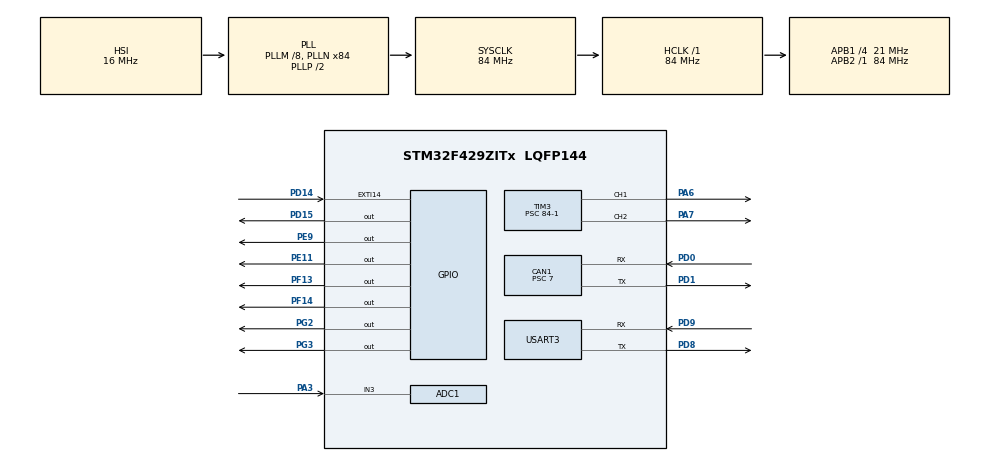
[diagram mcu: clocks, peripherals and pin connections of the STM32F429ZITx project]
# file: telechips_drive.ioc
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ADC1.Channel-0\#ChannelRegularConversion=ADC_CHANNEL_3
ADC1.NbrOfConversionFlag=1
ADC1.Rank-0\#ChannelRegularConversion=1
ADC1.SamplingTime-0\#ChannelRegularConversion=ADC_SAMPLETIME_3CYCLES
ADC1.master=1
CAN1.BS1=CAN_BS1_2TQ
CAN1.BS2=CAN_BS2_3TQ
CAN1.CalculateBaudRate=499999
CAN1.CalculateTimeBit=2000
CAN1.CalculateTimeQuantum=333.33333333333337
CAN1.Prescaler=7
FREERTOS.Tasks01=defaultTask,0,128,StartDefaultTask,Default,NULL,Dynamic,NULL,NULL;temp_hum,0,512,StartTask02,Default,NULL,Dynamic,NULL,NULL;bright,-3,512,StartTask03,Default,NULL,Dynamic,NULL,NULL
Mcu.Family=STM32F4
Mcu.Name=STM32F429ZITx
Mcu.Package=LQFP144
NVIC.CAN1_RX0_IRQn=true\:5\:0\:false\:false\:true\:true\:true\:true\:true
NVIC.PriorityGroup=NVIC_PRIORITYGROUP_4
PA3.Signal=ADCx_IN3
PA6.Signal=S_TIM3_CH1
PA7.Signal=S_TIM3_CH2
PD0.Mode=CAN_Activate
PD0.Signal=CAN1_RX
PD1.Mode=CAN_Activate
PD1.Signal=CAN1_TX
PD14.Signal=GPXTI14
PD15.Signal=GPIO_Output
PD8.Mode=Asynchronous
PD8.Signal=USART3_TX
PD9.Mode=Asynchronous
PD9.Signal=USART3_RX
PE11.Signal=GPIO_Output
PE9.Signal=GPIO_Output
PF13.Signal=GPIO_Output
PF14.Signal=GPIO_Output
PG2.Signal=GPIO_Output
PG3.Signal=GPIO_Output
ProjectManager.HeapSize=0x200
ProjectManager.StackSize=0x400
ProjectManager.TargetToolchain=STM32CubeIDE
RCC.48MHZClocksFreq_Value=42000000
RCC.AHBFreq_Value=84000000
RCC.APB1CLKDivider=RCC_HCLK_DIV4
RCC.APB1Freq_Value=21000000
RCC.APB1TimFreq_Value=42000000
RCC.APB2Freq_Value=84000000
RCC.APB2TimFreq_Value=84000000
RCC.CortexFreq_Value=84000000
RCC.HCLKFreq_Value=84000000
RCC.HSE_VALUE=25000000
RCC.HSI_VALUE=16000000
RCC.LSE_VALUE=32768
RCC.PLLM=8
RCC.PLLN=84
RCC.SYSCLKFreq_VALUE=84000000
RCC.SYSCLKSource=RCC_SYSCLKSOURCE_PLLCLK
RCC.VCOOutputFreq_Value=168000000
SH.ADCx_IN3.0=ADC1_IN3,IN3
SH.S_TIM3_CH1.0=TIM3_CH1,PWM Generation1 CH1
SH.S_TIM3_CH2.0=TIM3_CH2,PWM Generation2 CH2
TIM2.Period=0xffff
TIM2.Prescaler=42-1
TIM3.Channel-PWM\ Generation1\ CH1=TIM_CHANNEL_1
TIM3.Channel-PWM\ Generation2\ CH2=TIM_CHANNEL_2
TIM3.Period=1000-1
TIM3.Prescaler=84-1
USART3.VirtualMode=VM_ASYNC
VP_FREERTOS_VS_CMSIS_V1.Mode=CMSIS_V1
VP_TIM2_VS_ClockSourceINT.Mode=Internal
VP_TIM3_VS_ClockSourceINT.Mode=Internal
board=custom

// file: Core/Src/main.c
/* USER CODE BEGIN Header */
/**
  ******************************************************************************
  * @file           : main.c
  * @brief          : Main program body
  ******************************************************************************
  * @attention
  *
  * Copyright (c) 2025 STMicroelectronics.
  * All rights reserved.
  *
  * This software is licensed under terms that can be found in the LICENSE file
  * in the root directory of this software component.
  * If no LICENSE file comes with this software, it is provided AS-IS.
  *
  ******************************************************************************
  */
/* USER CODE END Header */
#include "main.h"
#include "cmsis_os.h"
#include<stdio.h>

/* USER CODE BEGIN PTD */
typedef struct {
    uint8_t humidity_int;
    uint8_t humidity_dec;
    uint8_t temperature_int;
    uint8_t temperature_dec;
    uint8_t checksum;
} DHT11_Data;
/* USER CODE END PTD */

/* USER CODE BEGIN PD */
#define DHT11_PORT GPIOG
#define DHT11_PIN GPIO_PIN_3
/* USER CODE END PD */

ADC_HandleTypeDef hadc1;

CAN_HandleTypeDef hcan1;

TIM_HandleTypeDef htim2;
TIM_HandleTypeDef htim3;

UART_HandleTypeDef huart3;

osThreadId defaultTaskHandle;
osThreadId temp_humHandle;
osThreadId brightHandle;
/* USER CODE BEGIN PV */
uint32_t adc_val = 0;
const uint32_t LUX_THRESHOLD = 3000; // 임계값 (0~4095 사이, 환경에 따라 조절)

static volatile uint8_t g_speed_ctrl_enabled = 0; // 시작/정지 상태
static volatile uint8_t g_bump_detected = 0; // 감속/가속 트리거 (이벤트)
static volatile uint8_t g_decel_mode = 1;// 자동 감속 기능 on/off

typedef enum {
  SPEED_NORMAL = 0,
  SPEED_DECEL  = 1,
} SpeedState;

static SpeedState speed_state = SPEED_NORMAL;
static uint32_t decel_start_tick = 0;

// 튜닝 값(처음은 보수적으로)
#define PWM_NORMAL   600   // 700
#define PWM_DECEL    300   // 500
#define DECEL_TMIN_MS 700   // 감속 유지 최소시간 (0.7s)
#define DECEL_TMAX_MS 2500  // 감속 최대시간 (2.5s) - 안전장치(선택)
/* USER CODE END PV */

void SystemClock_Config(void);
static void MX_GPIO_Init(void);
static void MX_TIM3_Init(void);
static void MX_TIM2_Init(void);
static void MX_USART3_UART_Init(void);
static void MX_ADC1_Init(void);
static void MX_CAN1_Init(void);
void StartDefaultTask(void const * argument);
void StartTask02(void const * argument);
void StartTask03(void const * argument);

/* USER CODE BEGIN PFP */
void DHT11_SetPinOutput(void);
void DHT11_SetPinInput(void);
void DHT11_Start(void);
uint8_t DHT11_CheckResponse(void);
uint8_t DHT11_ReadByte(void);
uint8_t DHT11_ReadData(DHT11_Data *data);
void delay_us(uint32_t us);

void CAN_App_Init(void);
HAL_StatusTypeDef CAN_Send_SensorFrame(const DHT11_Data *dht, uint16_t adc);
/* USER CODE END PFP */

/* USER CODE BEGIN 0 */
#include "string.h"
#include <stdarg.h>
#include <stdio.h>
//#define printf UART_SendString
void UART_SendString(char* str) {
    HAL_UART_Transmit(&huart3, (uint8_t*)str, strlen(str), HAL_MAX_DELAY);
}
// 마이크로초 딜레이 함수 (TIM2 사용)
void delay_us(uint32_t us) {
    __HAL_TIM_SET_COUNTER(&htim2, 0);
    while (__HAL_TIM_GET_COUNTER(&htim2) < us);
}

// GPIO를 출력 모드로 설정
void DHT11_SetPinOutput(void) {
    GPIO_InitTypeDef GPIO_InitStruct = {0};
    GPIO_InitStruct.Pin = DHT11_PIN;
    GPIO_InitStruct.Mode = GPIO_MODE_OUTPUT_PP;
    GPIO_InitStruct.Pull = GPIO_NOPULL;
    GPIO_InitStruct.Speed = GPIO_SPEED_FREQ_LOW;
    HAL_GPIO_Init(DHT11_PORT, &GPIO_InitStruct);
}

// GPIO를 입력 모드로 설정
void DHT11_SetPinInput(void) {
    GPIO_InitTypeDef GPIO_InitStruct = {0};
    GPIO_InitStruct.Pin = DHT11_PIN;
    GPIO_InitStruct.Mode = GPIO_MODE_INPUT;
    GPIO_InitStruct.Pull = GPIO_PULLUP;
    HAL_GPIO_Init(DHT11_PORT, &GPIO_InitStruct);
}

// DHT11 시작 신호
void DHT11_Start(void) {
    DHT11_SetPinOutput();
    HAL_GPIO_WritePin(DHT11_PORT, DHT11_PIN, GPIO_PIN_RESET);
    delay_us(18000);  // 18ms Low
    HAL_GPIO_WritePin(DHT11_PORT, DHT11_PIN, GPIO_PIN_SET);
    delay_us(30);     // 30us High
    DHT11_SetPinInput();
}

// DHT11 응답 확인
uint8_t DHT11_CheckResponse(void) {
    uint8_t response = 0;
    uint32_t timeout = 0;

    // 80us Low 대기
    timeout = 0;
    while (HAL_GPIO_ReadPin(DHT11_PORT, DHT11_PIN) == GPIO_PIN_RESET) {
        delay_us(1);
        timeout++;
        if (timeout > 100) return 0;
    }

    // 80us High 대기
    timeout = 0;
    while (HAL_GPIO_ReadPin(DHT11_PORT, DHT11_PIN) == GPIO_PIN_SET) {
        delay_us(1);
        timeout++;
        if (timeout > 100) return 0;
    }

    return 1;
}

// DHT11에서 1바이트 읽기
uint8_t DHT11_ReadByte(void) {
    uint8_t byte = 0;
    uint32_t timeout = 0;

    for (int i = 0; i < 8; i++) {
        // 50us Low 신호 대기
        timeout = 0;
        while (HAL_GPIO_ReadPin(DHT11_PORT, DHT11_PIN) == GPIO_PIN_RESET) {
            delay_us(1);
            timeout++;
            if (timeout > 100) return 0;
        }

        // High 신호 길이로 0/1 판단
        delay_us(40);

        if (HAL_GPIO_ReadPin(DHT11_PORT, DHT11_PIN) == GPIO_PIN_SET) {
            byte |= (1 << (7 - i));  // 1
        }

        // High 신호 끝날 때까지 대기
        timeout = 0;
        while (HAL_GPIO_ReadPin(DHT11_PORT, DHT11_PIN) == GPIO_PIN_SET) {
            delay_us(1);
            timeout++;
            if (timeout > 100) break;
        }
    }

    return byte;
}

// DHT11 데이터 읽기
uint8_t DHT11_ReadData(DHT11_Data *data) {
    uint8_t checksum;

    DHT11_Start();

    if (!DHT11_CheckResponse()) {
        return 0;  // 응답 없음
    }

    data->humidity_int = DHT11_ReadByte();
    data->humidity_dec = DHT11_ReadByte();
    data->temperature_int = DHT11_ReadByte();
    data->temperature_dec = DHT11_ReadByte();
    data->checksum = DHT11_ReadByte();

    // 체크섬 검증
    checksum = data->humidity_int + data->humidity_dec +
               data->temperature_int + data->temperature_dec;

    if (checksum != data->checksum) {
        return 0;  // 체크섬 오류
    }

    return 1;  // 성공
}
// 모터 방향 및 속도 제어 함수
// speed: 0 ~ 1000 (Counter Period 값에 대응)
// direction: 0(정지), 1(정회전), 2(역회전)
void Control_Motor(uint32_t direction, uint32_t speed) {
    // 1. 속도 설정 (PWM Duty Cycle 업데이트)
    __HAL_TIM_SET_COMPARE(&htim3, TIM_CHANNEL_1, speed);

    // 2. 방향 설정
    if (direction == 1) { // 정회전
        HAL_GPIO_WritePin(GPIOE, GPIO_PIN_9, GPIO_PIN_SET);
        HAL_GPIO_WritePin(GPIOF, GPIO_PIN_13, GPIO_PIN_RESET);
        HAL_GPIO_WritePin(GPIOE, GPIO_PIN_11, GPIO_PIN_SET);
        HAL_GPIO_WritePin(GPIOF, GPIO_PIN_14, GPIO_PIN_RESET);

    }
    else if (direction == 2) { // 역회전
        HAL_GPIO_WritePin(GPIOE, GPIO_PIN_9, GPIO_PIN_RESET);
        HAL_GPIO_WritePin(GPIOF, GPIO_PIN_13, GPIO_PIN_SET);
        HAL_GPIO_WritePin(GPIOE, GPIO_PIN_11, GPIO_PIN_RESET);
        HAL_GPIO_WritePin(GPIOF, GPIO_PIN_14, GPIO_PIN_SET);
    }
    else { // 정지
        HAL_GPIO_WritePin(GPIOE, GPIO_PIN_9, GPIO_PIN_RESET);
        HAL_GPIO_WritePin(GPIOF, GPIO_PIN_13, GPIO_PIN_RESET);
        HAL_GPIO_WritePin(GPIOE, GPIO_PIN_11, GPIO_PIN_RESET);
        HAL_GPIO_WritePin(GPIOF, GPIO_PIN_14, GPIO_PIN_RESET);
    }
}
/* USER CODE END 0 */

int main(void)
{

  /* MCU Configuration--------------------------------------------------------*/

  /* Reset of all peripherals, Initializes the Flash interface and the Systick. */
  HAL_Init();

  /* Configure the system clock */
  SystemClock_Config();

  /* Initialize all configured peripherals */
  MX_GPIO_Init();
  MX_TIM3_Init();
  MX_TIM2_Init();
  MX_USART3_UART_Init();
  MX_ADC1_Init();
  MX_CAN1_Init();
  /* USER CODE BEGIN 2 */
  CAN_App_Init();
  HAL_TIM_Base_Start(&htim2);
  HAL_TIM_PWM_Start(&htim3, TIM_CHANNEL_1);
  /* USER CODE END 2 */

  /* Create the thread(s) */
  /* definition and creation of defaultTask */
  osThreadDef(defaultTask, StartDefaultTask, osPriorityNormal, 0, 128);
  defaultTaskHandle = osThreadCreate(osThread(defaultTask), NULL);

  /* definition and creation of temp_hum */
  osThreadDef(temp_hum, StartTask02, osPriorityNormal, 0, 512);
  temp_humHandle = osThreadCreate(osThread(temp_hum), NULL);

  /* definition and creation of bright */
  osThreadDef(bright, StartTask03, osPriorityIdle, 0, 512);
  brightHandle = osThreadCreate(osThread(bright), NULL);

  /* Start scheduler */
  osKernelStart();

  /* We should never get here as control is now taken by the scheduler */

  /* Infinite loop */
  while (1)
  {

  }
}

void SystemClock_Config(void)
{
  RCC_OscInitTypeDef RCC_OscInitStruct = {0};
  RCC_ClkInitTypeDef RCC_ClkInitStruct = {0};

  /** Configure the main internal regulator output voltage
  */
  __HAL_RCC_PWR_CLK_ENABLE();
  __HAL_PWR_VOLTAGESCALING_CONFIG(PWR_REGULATOR_VOLTAGE_SCALE3);

  /** Initializes the RCC Oscillators according to the specified parameters
  * in the RCC_OscInitTypeDef structure.
  */
  RCC_OscInitStruct.OscillatorType = RCC_OSCILLATORTYPE_HSI;
  RCC_OscInitStruct.HSIState = RCC_HSI_ON;
  RCC_OscInitStruct.HSICalibrationValue = RCC_HSICALIBRATION_DEFAULT;
  RCC_OscInitStruct.PLL.PLLState = RCC_PLL_ON;
  RCC_OscInitStruct.PLL.PLLSource = RCC_PLLSOURCE_HSI;
  RCC_OscInitStruct.PLL.PLLM = 8;
  RCC_OscInitStruct.PLL.PLLN = 84;
  RCC_OscInitStruct.PLL.PLLP = RCC_PLLP_DIV2;
  RCC_OscInitStruct.PLL.PLLQ = 4;
  if (HAL_RCC_OscConfig(&RCC_OscInitStruct) != HAL_OK)
  {
    Error_Handler();
  }

  /** Initializes the CPU, AHB and APB buses clocks
  */
  RCC_ClkInitStruct.ClockType = RCC_CLOCKTYPE_HCLK|RCC_CLOCKTYPE_SYSCLK
                              |RCC_CLOCKTYPE_PCLK1|RCC_CLOCKTYPE_PCLK2;
  RCC_ClkInitStruct.SYSCLKSource = RCC_SYSCLKSOURCE_PLLCLK;
  RCC_ClkInitStruct.AHBCLKDivider = RCC_SYSCLK_DIV1;
  RCC_ClkInitStruct.APB1CLKDivider = RCC_HCLK_DIV4;
  RCC_ClkInitStruct.APB2CLKDivider = RCC_HCLK_DIV1;

  if (HAL_RCC_ClockConfig(&RCC_ClkInitStruct, FLASH_LATENCY_2) != HAL_OK)
  {
    Error_Handler();
  }
}

static void MX_ADC1_Init(void)
{

  ADC_ChannelConfTypeDef sConfig = {0};

  /** Configure the global features of the ADC (Clock, Resolution, Data Alignment and number of conversion)
  */
  hadc1.Instance = ADC1;
  hadc1.Init.ClockPrescaler = ADC_CLOCK_SYNC_PCLK_DIV4;
  hadc1.Init.Resolution = ADC_RESOLUTION_12B;
  hadc1.Init.ScanConvMode = DISABLE;
  hadc1.Init.ContinuousConvMode = DISABLE;
  hadc1.Init.DiscontinuousConvMode = DISABLE;
  hadc1.Init.ExternalTrigConvEdge = ADC_EXTERNALTRIGCONVEDGE_NONE;
  hadc1.Init.ExternalTrigConv = ADC_SOFTWARE_START;
  hadc1.Init.DataAlign = ADC_DATAALIGN_RIGHT;
  hadc1.Init.NbrOfConversion = 1;
  hadc1.Init.DMAContinuousRequests = DISABLE;
  hadc1.Init.EOCSelection = ADC_EOC_SINGLE_CONV;
  if (HAL_ADC_Init(&hadc1) != HAL_OK)
  {
    Error_Handler();
  }

  /** Configure for the selected ADC regular channel its corresponding rank in the sequencer and its sample time.
  */
  sConfig.Channel = ADC_CHANNEL_3;
  sConfig.Rank = 1;
  sConfig.SamplingTime = ADC_SAMPLETIME_480CYCLES;
  if (HAL_ADC_ConfigChannel(&hadc1, &sConfig) != HAL_OK)
  {
    Error_Handler();
  }

}

static void MX_CAN1_Init(void)
{

  hcan1.Instance = CAN1;
  hcan1.Init.Prescaler = 7;
  hcan1.Init.Mode = CAN_MODE_NORMAL;
  hcan1.Init.SyncJumpWidth = CAN_SJW_1TQ;
  hcan1.Init.TimeSeg1 = CAN_BS1_2TQ;
  hcan1.Init.TimeSeg2 = CAN_BS2_3TQ;
  hcan1.Init.TimeTriggeredMode = DISABLE;
  hcan1.Init.AutoBusOff = DISABLE;
  hcan1.Init.AutoWakeUp = DISABLE;
  hcan1.Init.AutoRetransmission = DISABLE;
  hcan1.Init.ReceiveFifoLocked = DISABLE;
  hcan1.Init.TransmitFifoPriority = DISABLE;
  if (HAL_CAN_Init(&hcan1) != HAL_OK)
  {
    Error_Handler();
  }

}

static void MX_TIM2_Init(void)
{

  TIM_ClockConfigTypeDef sClockSourceConfig = {0};
  TIM_MasterConfigTypeDef sMasterConfig = {0};

  htim2.Instance = TIM2;
  htim2.Init.Prescaler = 42-1;
  htim2.Init.CounterMode = TIM_COUNTERMODE_UP;
  htim2.Init.Period = 0xffff;
  htim2.Init.ClockDivision = TIM_CLOCKDIVISION_DIV1;
  htim2.Init.AutoReloadPreload = TIM_AUTORELOAD_PRELOAD_DISABLE;
  if (HAL_TIM_Base_Init(&htim2) != HAL_OK)
  {
    Error_Handler();
  }
  sClockSourceConfig.ClockSource = TIM_CLOCKSOURCE_INTERNAL;
  if (HAL_TIM_ConfigClockSource(&htim2, &sClockSourceConfig) != HAL_OK)
  {
    Error_Handler();
  }
  sMasterConfig.MasterOutputTrigger = TIM_TRGO_RESET;
  sMasterConfig.MasterSlaveMode = TIM_MASTERSLAVEMODE_DISABLE;
  if (HAL_TIMEx_MasterConfigSynchronization(&htim2, &sMasterConfig) != HAL_OK)
  {
    Error_Handler();
  }

}

static void MX_TIM3_Init(void)
{

  TIM_ClockConfigTypeDef sClockSourceConfig = {0};
  TIM_MasterConfigTypeDef sMasterConfig = {0};
  TIM_OC_InitTypeDef sConfigOC = {0};

  htim3.Instance = TIM3;
  htim3.Init.Prescaler = 84-1;
  htim3.Init.CounterMode = TIM_COUNTERMODE_UP;
  htim3.Init.Period = 1000-1;
  htim3.Init.ClockDivision = TIM_CLOCKDIVISION_DIV1;
  htim3.Init.AutoReloadPreload = TIM_AUTORELOAD_PRELOAD_DISABLE;
  if (HAL_TIM_Base_Init(&htim3) != HAL_OK)
  {
    Error_Handler();
  }
  sClockSourceConfig.ClockSource = TIM_CLOCKSOURCE_INTERNAL;
  if (HAL_TIM_ConfigClockSource(&htim3, &sClockSourceConfig) != HAL_OK)
  {
    Error_Handler();
  }
  if (HAL_TIM_PWM_Init(&htim3) != HAL_OK)
  {
    Error_Handler();
  }
  sMasterConfig.MasterOutputTrigger = TIM_TRGO_RESET;
  sMasterConfig.MasterSlaveMode = TIM_MASTERSLAVEMODE_DISABLE;
  if (HAL_TIMEx_MasterConfigSynchronization(&htim3, &sMasterConfig) != HAL_OK)
  {
    Error_Handler();
  }
  sConfigOC.OCMode = TIM_OCMODE_PWM1;
  sConfigOC.Pulse = 0;
  sConfigOC.OCPolarity = TIM_OCPOLARITY_HIGH;
  sConfigOC.OCFastMode = TIM_OCFAST_DISABLE;
  if (HAL_TIM_PWM_ConfigChannel(&htim3, &sConfigOC, TIM_CHANNEL_1) != HAL_OK)
  {
    Error_Handler();
  }
  if (HAL_TIM_PWM_ConfigChannel(&htim3, &sConfigOC, TIM_CHANNEL_2) != HAL_OK)
  {
    Error_Handler();
  }
  HAL_TIM_MspPostInit(&htim3);

}

static void MX_USART3_UART_Init(void)
{

  huart3.Instance = USART3;
  huart3.Init.BaudRate = 115200;
  huart3.Init.WordLength = UART_WORDLENGTH_8B;
  huart3.Init.StopBits = UART_STOPBITS_1;
  huart3.Init.Parity = UART_PARITY_NONE;
  huart3.Init.Mode = UART_MODE_TX_RX;
  huart3.Init.HwFlowCtl = UART_HWCONTROL_NONE;
  huart3.Init.OverSampling = UART_OVERSAMPLING_16;
  if (HAL_UART_Init(&huart3) != HAL_OK)
  {
    Error_Handler();
  }

}

static void MX_GPIO_Init(void)
{
  GPIO_InitTypeDef GPIO_InitStruct = {0};

  /* GPIO Ports Clock Enable */
  __HAL_RCC_GPIOA_CLK_ENABLE();
  __HAL_RCC_GPIOF_CLK_ENABLE();
  __HAL_RCC_GPIOE_CLK_ENABLE();
  __HAL_RCC_GPIOD_CLK_ENABLE();
  __HAL_RCC_GPIOG_CLK_ENABLE();

  /*Configure GPIO pin Output Level */
  HAL_GPIO_WritePin(GPIOF, GPIO_PIN_13|GPIO_PIN_14, GPIO_PIN_RESET);

  /*Configure GPIO pin Output Level */
  HAL_GPIO_WritePin(GPIOE, GPIO_PIN_9|GPIO_PIN_11, GPIO_PIN_RESET);

  /*Configure GPIO pin Output Level */
  HAL_GPIO_WritePin(GPIOD, GPIO_PIN_15, GPIO_PIN_RESET);

  /*Configure GPIO pin Output Level */
  HAL_GPIO_WritePin(GPIOG, GPIO_PIN_2|GPIO_PIN_3, GPIO_PIN_RESET);

  /*Configure GPIO pins : PF13 PF14 */
  GPIO_InitStruct.Pin = GPIO_PIN_13|GPIO_PIN_14;
  GPIO_InitStruct.Mode = GPIO_MODE_OUTPUT_PP;
  GPIO_InitStruct.Pull = GPIO_NOPULL;
  GPIO_InitStruct.Speed = GPIO_SPEED_FREQ_LOW;
  HAL_GPIO_Init(GPIOF, &GPIO_InitStruct);

  /*Configure GPIO pins : PE9 PE11 */
  GPIO_InitStruct.Pin = GPIO_PIN_9|GPIO_PIN_11;
  GPIO_InitStruct.Mode = GPIO_MODE_OUTPUT_PP;
  GPIO_InitStruct.Pull = GPIO_NOPULL;
  GPIO_InitStruct.Speed = GPIO_SPEED_FREQ_LOW;
  HAL_GPIO_Init(GPIOE, &GPIO_InitStruct);

  /*Configure GPIO pin : PD14 */
  GPIO_InitStruct.Pin = GPIO_PIN_14;
  GPIO_InitStruct.Mode = GPIO_MODE_IT_RISING;
  GPIO_InitStruct.Pull = GPIO_NOPULL;
  HAL_GPIO_Init(GPIOD, &GPIO_InitStruct);

  /*Configure GPIO pin : PD15 */
  GPIO_InitStruct.Pin = GPIO_PIN_15;
  GPIO_InitStruct.Mode = GPIO_MODE_OUTPUT_PP;
  GPIO_InitStruct.Pull = GPIO_NOPULL;
  GPIO_InitStruct.Speed = GPIO_SPEED_FREQ_LOW;
  HAL_GPIO_Init(GPIOD, &GPIO_InitStruct);

  /*Configure GPIO pins : PG2 PG3 */
  GPIO_InitStruct.Pin = GPIO_PIN_2|GPIO_PIN_3;
  GPIO_InitStruct.Mode = GPIO_MODE_OUTPUT_PP;
  GPIO_InitStruct.Pull = GPIO_NOPULL;
  GPIO_InitStruct.Speed = GPIO_SPEED_FREQ_LOW;
  HAL_GPIO_Init(GPIOG, &GPIO_InitStruct);

}

/* USER CODE BEGIN 4 */
void CAN_App_Init(void)
{
  CAN_FilterTypeDef filter = {0};

  filter.FilterBank =0;
  filter.FilterMode = CAN_FILTERMODE_IDMASK;
  filter.FilterScale = CAN_FILTERSCALE_32BIT;
  filter.FilterFIFOAssignment = CAN_FILTER_FIFO0;
  filter.FilterActivation = ENABLE;

  // 0x20~0x23 통과(하위 2비트 무시) → 0x20,0x21,0x22 모두 수신됨
  filter.FilterIdHigh     = (0x20 << 5);
  filter.FilterIdLow      = 0x0000;
  filter.FilterMaskIdHigh = (0x7FC << 5);
  filter.FilterMaskIdLow  = 0x0000;

if (HAL_CAN_ConfigFilter(&hcan1, &filter) != HAL_OK) Error_Handler();
if (HAL_CAN_Start(&hcan1) != HAL_OK) Error_Handler();
if (HAL_CAN_ActivateNotification(&hcan1, CAN_IT_RX_FIFO0_MSG_PENDING) != HAL_OK) Error_Handler();
}

HAL_StatusTypeDef CAN_Send_SensorFrame(const DHT11_Data *dht,uint16_t adc)
{
  CAN_TxHeaderTypeDef txHeader = {0};
uint8_t data[3];
uint32_t txMailbox;

  txHeader.StdId =0x30;
  txHeader.IDE   = CAN_ID_STD;
  txHeader.RTR   = CAN_RTR_DATA;
  txHeader.DLC   =3;

  data[0] = dht->temperature_int;
  data[1] = (uint8_t)((adc >>8) &0xFF);
  data[2] = (uint8_t)(adc &0xFF);

  // Tx mailbox 3개 중 사용 가능한 게 없으면(0이면) 지금은 보내지 않음
  if (HAL_CAN_GetTxMailboxesFreeLevel(&hcan1) == 0) {
      return HAL_BUSY;  // 호출한 쪽(StartTask02)에서 "CAN TX FAIL"로 처리 가능
  }

  return HAL_CAN_AddTxMessage(&hcan1, &txHeader, data, &txMailbox);
}

void HAL_CAN_RxFifo0MsgPendingCallback(CAN_HandleTypeDef *hcan)
{
  CAN_RxHeaderTypeDef rxHeader;
uint8_t rxData[8];

if (hcan->Instance != CAN1) return;
if (HAL_CAN_GetRxMessage(hcan, CAN_RX_FIFO0, &rxHeader, rxData) != HAL_OK)return;
if (rxHeader.IDE != CAN_ID_STD)return;
if (rxHeader.DLC < 1) return;

if (rxHeader.StdId == 0x20) {
    // 0x20: 감속/가속 이벤트
    // rxData[0] = 0(ACCEL: 원속 복귀), 1(DECEL: 감속)
    if (rxData[0] <= 1) g_bump_detected = rxData[0];

  } else if (rxHeader.StdId == 0x21) {
    // 0x21: 시작/정지
    // rxData[0] = 0(STOP), 1(START)
	if (rxData[0] <= 1) g_speed_ctrl_enabled = rxData[0];

  } else if (rxHeader.StdId == 0x22) {
    // 0x22: 자동 감속/가속 기능 ON/OFF
    // rxData[0] = 0(AUTO_OFF), 1(AUTO_ON)
    if (rxData[0] <= 1) g_decel_mode = rxData[0];
  }
}
/* USER CODE END 4 */

void StartDefaultTask(void const * argument)
{
  /* USER CODE BEGIN 5 */
  /* Infinite loop */
	for(;;)
	  {
		// ISR에서 volatile로 갱신되니 스냅샷 떠서 사용
	    uint8_t run_en   = g_speed_ctrl_enabled;
	    uint8_t auto_on  = g_decel_mode;
	    uint8_t bump_cmd = g_bump_detected;   // 0: ACCEL, 1: DECEL (0x20) :contentReference[oaicite:2]{index=2}

	    uint32_t now = HAL_GetTick();

	    // 1) 시작/정지 최우선
//	    if (!run_en) {
//	    	UART_SendString("stop\r\n");
//	      speed_state = SPEED_NORMAL;   // 정지하면 상태도 리셋
//	      Control_Motor(0, 0);
//	      osDelay(10);
//	      continue;
//	    }

	    // 2) AUTO_OFF면 항상 정상속도 + 상태 리셋
//	    if (!auto_on) {
//	    	UART_SendString("auto_off\r\n");
//	      speed_state = SPEED_NORMAL;
//	      Control_Motor(1, PWM_NORMAL);
//	      osDelay(10);
//	      continue;
//	    }

	    // 3) AUTO_ON, 상태에 따른 모터 출력
//	    if (bump_cmd) {
//	    	UART_SendString("deceleration on\r\n");
//	      Control_Motor(1, PWM_DECEL);
//	    } else {
//	    	UART_SendString("deceleration off, normal\r\n");
//	      Control_Motor(1, PWM_NORMAL);
//	    }
//
//	    osDelay(10);
	    Control_Motor(1, 200);
	    osDelay(300);
	  }
  /* USER CODE END 5 */
}

void StartTask02(void const * argument)
{
  /* USER CODE BEGIN StartTask02 */
	DHT11_Data dht11_data;
	    char buf[128];
	    uint8_t retry_count = 0;
	    uint32_t read_count = 0;

	    UART_SendString("\r\n========================================\r\n");
	    UART_SendString("   DHT11 Temperature & Humidity Sensor\r\n");
	    UART_SendString("========================================\r\n");
	    UART_SendString("Initializing sensor...\r\n\r\n");

	    // 센서 안정화를 위한 초기 대기
	    osDelay(2000);

	    for(;;)
	    {
	        read_count++;

	        if (DHT11_ReadData(&dht11_data)) {
	            // 데이터 읽기 성공
	            sprintf(buf, "[%lu] Temperature: %d.%d°C | Humidity: %d.%d%% | Status: OK\r\n",
	                    read_count,
	                    dht11_data.temperature_int,
	                    dht11_data.temperature_dec,
	                    dht11_data.humidity_int,
	                    dht11_data.humidity_dec);
	            UART_SendString(buf);
	            // CAN 송신
	            CAN_Send_SensorFrame(&dht11_data, (uint16_t)adc_val);
	            retry_count = 0;

	        } else {
	            // 데이터 읽기 실패
	            retry_count++;

	            dht11_data.temperature_int = 0xFF;  // 온도 invalid 표시(수신측에서 0xFF면 무시)

	            if (CAN_Send_SensorFrame(&dht11_data, (uint16_t)adc_val) != HAL_OK) {
	                UART_SendString("CAN TX FAIL (DHT dummy)\r\n");
	                HAL_GPIO_TogglePin(GPIOD, GPIO_PIN_15);
	            }

	            sprintf(buf, "[%lu] Read failed! (Retry: %d/5)\r\n",
	                    read_count, retry_count);
	            UART_SendString(buf);

	            if (retry_count >= 5) {
	                UART_SendString("WARNING: Multiple read failures. Check sensor connection.\r\n");
	                retry_count = 0;
	            }
	            // dummy 값과 함께 CAN 송신
	            CAN_Send_SensorFrame(&dht11_data, (uint16_t)adc_val);
	        }

	        // 3초 대기
	        osDelay(3000);
	    }
  /* USER CODE END StartTask02 */
}

void StartTask03(void const * argument)
{
  /* USER CODE BEGIN StartTask03 */
	char buf[64];
	UART_SendString("Light Sensor Control System Start...\r\n");

  /* Infinite loop */
	  for(;;)
	  {
	    // 1. ADC 시작
	    HAL_ADC_Start(&hadc1);

	    // 2. 변환 완료 대기 (타임아웃 10ms)
	    if (HAL_ADC_PollForConversion(&hadc1, 10) == HAL_OK)
	    {
	      // 3. ADC 값 읽기 (12비트 기준 0 ~ 4095)
	      adc_val = HAL_ADC_GetValue(&hadc1);

	      // 4. UART 출력
	      sprintf(buf, "Current Light Value: %lu\r\n", adc_val);
	      UART_SendString(buf);

	      // 5. 임계값 비교 및 LED 제어 (어두우면 켜짐)
	      // SEN030201은 보통 밝을수록 전압(ADC값)이 높아집니다.
	      if (adc_val < LUX_THRESHOLD) {
	    	  HAL_GPIO_WritePin(GPIOG, GPIO_PIN_2, GPIO_PIN_SET);   // LED ON
	    	  UART_SendString("Status: DARK -> LED ON\r\n");
	      } else {
	    	  HAL_GPIO_WritePin(GPIOG, GPIO_PIN_2, GPIO_PIN_RESET); // LED OFF
	    	  UART_SendString("Status: BRIGHT -> LED OFF\r\n");
	      }

	    }

	    HAL_ADC_Stop(&hadc1); // ADC 중지

	    // 6. 5초 대기
	    osDelay(5000);
	  }
  /* USER CODE END StartTask03 */
}

void Error_Handler(void)
{
  __disable_irq();
  while (1)
  {
  }
}
